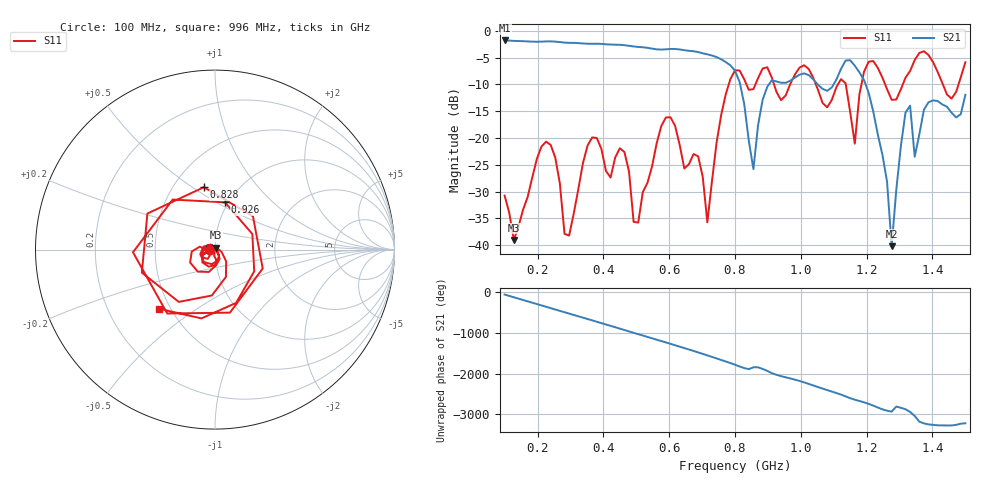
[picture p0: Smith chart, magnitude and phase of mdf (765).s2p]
! NanoVNA-App
! Date: 2025-09-25 15:44:22
! Start: 100MHz Stop: 1,5GHz Points: 101
! S-Parameter data: F S11 S21 S12 S22
# Hz S RI R 50
!  Frequency  S11_Real  S11_Imag  S21_Real  S21_Imag  S12_Real  S12_Imag  S22_Real  S22_Imag
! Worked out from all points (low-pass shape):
!   101 points, 100 MHz to 1.5 GHz, reference 50 ohm
!   highest |S21| = -1.80 dB at 100 MHz (marker M1); lowest = -40.2 dB at 1.276 GHz (marker M2)
!   |S21| within 3 dB of the highest: start of sweep to 739.3 MHz
!   lowest |S11| = -39.0 dB at 128 MHz (marker M3), VSWR 1.02, Z = 50.3 + j1.08 ohm
!   |S11| at or under -10 dB: start of sweep to 781.1 MHz; 1.046 GHz to 1.113 GHz (67.19 MHz wide, 6.23 % of centre); 1.256 GHz to 1.31 GHz (53.7 MHz wide, 4.19 % of centre) (the widest 3 of 7)
!   S12 and S22 are empty: the file has one direction only
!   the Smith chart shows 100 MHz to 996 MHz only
!   S11 on the Smith chart (normalised r, x): 100 MHz: 0.94, -0.01; 828 MHz: 0.70, +0.56; 926 MHz: 0.96, +0.55; 996 MHz: 0.43, -0.36
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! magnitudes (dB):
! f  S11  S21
! 100 MHz  -30.7  -1.8
! 128 MHz  -39.0  -1.9
! 212 MHz  -21.6  -2.0
! 282 MHz  -37.9  -2.2
! 338 MHz  -24.7  -2.4
! 464 MHz  -22.6  -2.7
! 506 MHz  -35.8  -3.0
! 576 MHz  -17.8  -3.5
! 688 MHz  -23.4  -4.0
! 716 MHz  -35.7  -4.4
! 800 MHz  -7.4  -7.4
! 828 MHz  -9.0  -13.6
! 856 MHz  -10.9  -25.8
! 926 MHz  -11.4  -9.4
! 996 MHz  -6.9  -8.2
! 1.038 GHz  -8.8  -9.1
! 1.164 GHz  -21.0  -6.5
! 1.192 GHz  -7.6  -9.2
! 1.276 GHz  -12.9  -40.2
! 1.318 GHz  -8.8  -15.3
! 1.346 GHz  -5.4  -23.5
! 1.5 GHz  -5.9  -11.9
